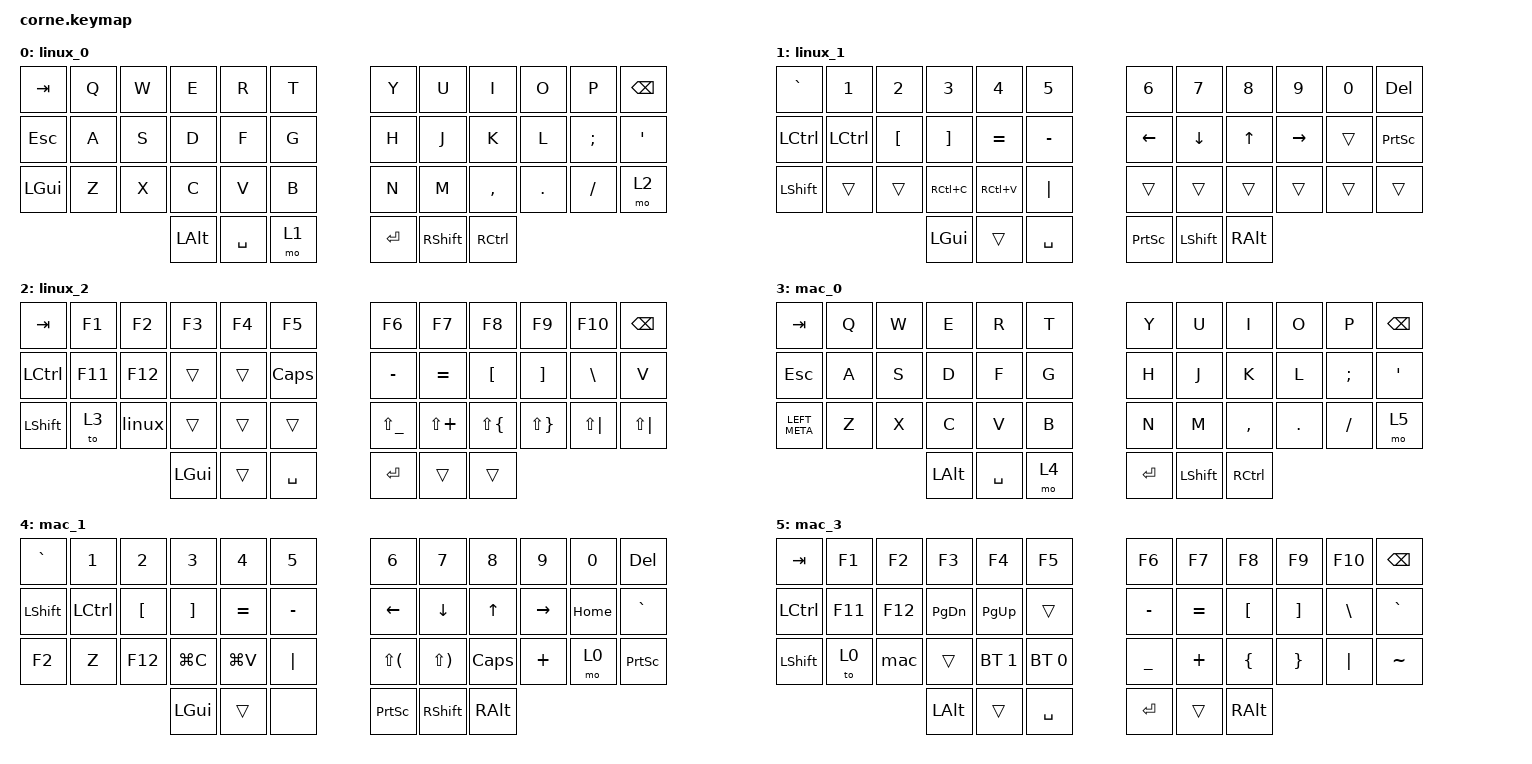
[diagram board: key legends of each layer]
/*
 * Copyright (c) 2020 The ZMK Contributors
 *
 * SPDX-License-Identifier: MIT
 */

#include <behaviors.dtsi>
#include <dt-bindings/zmk/bt.h>
#include <dt-bindings/zmk/keys.h>

/ {
    macros {
        mac: mac {
            compatible = "zmk,behavior-macro";
            #binding-cells = <0>;
            bindings = <&kp M &kp A &kp C &kp SPACE &kp S &kp E &kp T &kp U &kp P>;
            label = "MAC";
        };

        linux: linux {
            compatible = "zmk,behavior-macro";
            #binding-cells = <0>;
            bindings = <&kp L &kp I &kp N &kp U &kp X &kp SPACE &kp S &kp E &kp T &kp U &kp P>;
            label = "LINUX";
        };
    };

    keymap {
        compatible = "zmk,keymap";

        linux_0 {
            bindings = <
&kp TAB   &kp Q  &kp W  &kp E         &kp R      &kp T    &kp Y      &kp U            &kp I              &kp O    &kp P     &kp BSPC
&kp ESC   &kp A  &kp S  &kp D         &kp F      &kp G    &kp H      &kp J            &kp K              &kp L    &kp SEMI  &kp SINGLE_QUOTE
&kp LGUI  &kp Z  &kp X  &kp C         &kp V      &kp B    &kp N      &kp M            &kp COMMA          &kp DOT  &kp FSLH  &mo 2
                        &kp LEFT_ALT  &kp SPACE  &mo 1    &kp ENTER  &kp RIGHT_SHIFT  &kp RIGHT_CONTROL
            >;
        };

        linux_1 {
            bindings = <
&kp GRAVE  &kp N1     &kp N2            &kp N3     &kp N4     &kp N5       &kp N6           &kp N7          &kp N8         &kp N9     &kp N0  &kp DEL
&kp LCTRL  &kp LCTRL  &kp LEFT_BRACKET  &kp RBKT   &kp EQUAL  &kp MINUS    &kp LEFT         &kp DOWN        &kp UP         &kp RIGHT  &trans  &kp PRINTSCREEN
&kp LSHFT  &trans     &trans            &kp RC(C)  &kp RC(V)  &kp PIPE     &trans           &trans          &trans         &trans     &trans  &trans
                                        &kp LGUI   &trans     &kp SPACE    &kp PRINTSCREEN  &kp LEFT_SHIFT  &kp RIGHT_ALT
            >;
        };

        linux_2 {
            bindings = <
&kp TAB    &kp F1   &kp F2   &kp F3    &kp F4  &kp F5          &kp F6         &kp F7        &kp F8        &kp F9        &kp F10       &kp BSPC
&kp LCTRL  &kp F11  &kp F12  &trans    &trans  &kp CAPSLOCK    &kp MINUS      &kp EQUAL     &kp LBKT      &kp RBKT      &kp BSLH      &kp V
&kp LSHFT  &to 3    &linux   &trans    &trans  &trans          &kp LS(UNDER)  &kp LS(PLUS)  &kp LS(LBRC)  &kp LS(RBRC)  &kp LS(PIPE)  &kp LS(PIPE)
                             &kp LGUI  &trans  &kp SPACE       &kp ENTER      &trans        &trans
            >;
        };

        mac_0 {
            // -----------------------------------------------------------------------------------------
            // |  TAB |  Q  |  W  |  E  |  R  |  T  |   |  Y  |  U   |  I  |  O  |  P  | BSPC |
            // | CTRL |  A  |  S  |  D  |  F  |  G  |   |  H  |  J   |  K  |  L  |  ;  |  '   |
            // | SHFT |  Z  |  X  |  C  |  V  |  B  |   |  N  |  M   |  ,  |  .  |  /  | ESC  |
            //                    | GUI | LWR | SPC |   | ENT | RSE  | ALT |

            bindings = <
&kp TAB        &kp Q  &kp W  &kp E         &kp R      &kp T    &kp Y    &kp U           &kp I      &kp O    &kp P     &kp BSPC
&kp ESC        &kp A  &kp S  &kp D         &kp F      &kp G    &kp H    &kp J           &kp K      &kp L    &kp SEMI  &kp SQT
&kp LEFT_META  &kp Z  &kp X  &kp C         &kp V      &kp B    &kp N    &kp M           &kp COMMA  &kp DOT  &kp FSLH  &mo 5
                             &kp LEFT_ALT  &kp SPACE  &mo 4    &kp RET  &kp LEFT_SHIFT  &kp RCTRL
            >;
        };

        mac_1 {
            // -----------------------------------------------------------------------------------------
            // |  TAB |  1  |  2  |  3  |  4  |  5  |   |  6  |  7  |  8  |  9  |  0  | BSPC |
            // | BTCLR| BT1 | BT2 | BT3 | BT4 | BT5 |   | LFT | DWN |  UP | RGT |     |      |
            // | SHFT |     |     |     |     |     |   |     |     |     |     |     |      |
            //                    | GUI |     | SPC |   | ENT |     | ALT |

            bindings = <
&kp GRAVE       &kp N1     &kp N2            &kp N3             &kp N4     &kp N5       &kp N6                    &kp N7                     &kp N8        &kp N9     &kp N0    &kp DELETE
&kp LEFT_SHIFT  &kp LCTRL  &kp LEFT_BRACKET  &kp RIGHT_BRACKET  &kp EQUAL  &kp MINUS    &kp LEFT                  &kp DOWN                   &kp UP        &kp RIGHT  &kp HOME  &kp GRAVE
&kp F2          &kp Z      &kp F12           &kp LG(C)          &kp LG(V)  &kp PIPE     &kp LS(LEFT_PARENTHESIS)  &kp LS(RIGHT_PARENTHESIS)  &kp CAPSLOCK  &kp PLUS   &mo 0     &kp PRINTSCREEN
                                             &kp LGUI           &trans     &none        &kp PRINTSCREEN           &kp RIGHT_SHIFT            &kp RALT
            >;
        };

        mac_3 {
            // -----------------------------------------------------------------------------------------
            // |  TAB |  !  |  @  |  #  |  $  |  %  |   |  ^  |  &  |  *  |  (  |  )  | BSPC |
            // | CTRL |     |     |     |     |     |   |  -  |  =  |  [  |  ]  |  \  |  `   |
            // | SHFT |     |     |     |     |     |   |  _  |  +  |  {  |  }  | "|" |  ~   |
            //                    | GUI |     | SPC |   | ENT |     | ALT |

            bindings = <
&kp TAB    &kp F1   &kp F2   &kp F3         &kp F4        &kp F5          &kp F6     &kp F7     &kp F8    &kp F9    &kp F10   &kp BSPC
&kp LCTRL  &kp F11  &kp F12  &kp PAGE_DOWN  &kp PAGE_UP   &trans          &kp MINUS  &kp EQUAL  &kp LBKT  &kp RBKT  &kp BSLH  &kp GRAVE
&kp LSHFT  &to 0    &mac     &trans         &bt BT_SEL 1  &bt BT_SEL 0    &kp UNDER  &kp PLUS   &kp LBRC  &kp RBRC  &kp PIPE  &kp TILDE
                             &kp LEFT_ALT   &trans        &kp SPACE       &kp RET    &trans     &kp RALT
            >;
        };
    };
};
